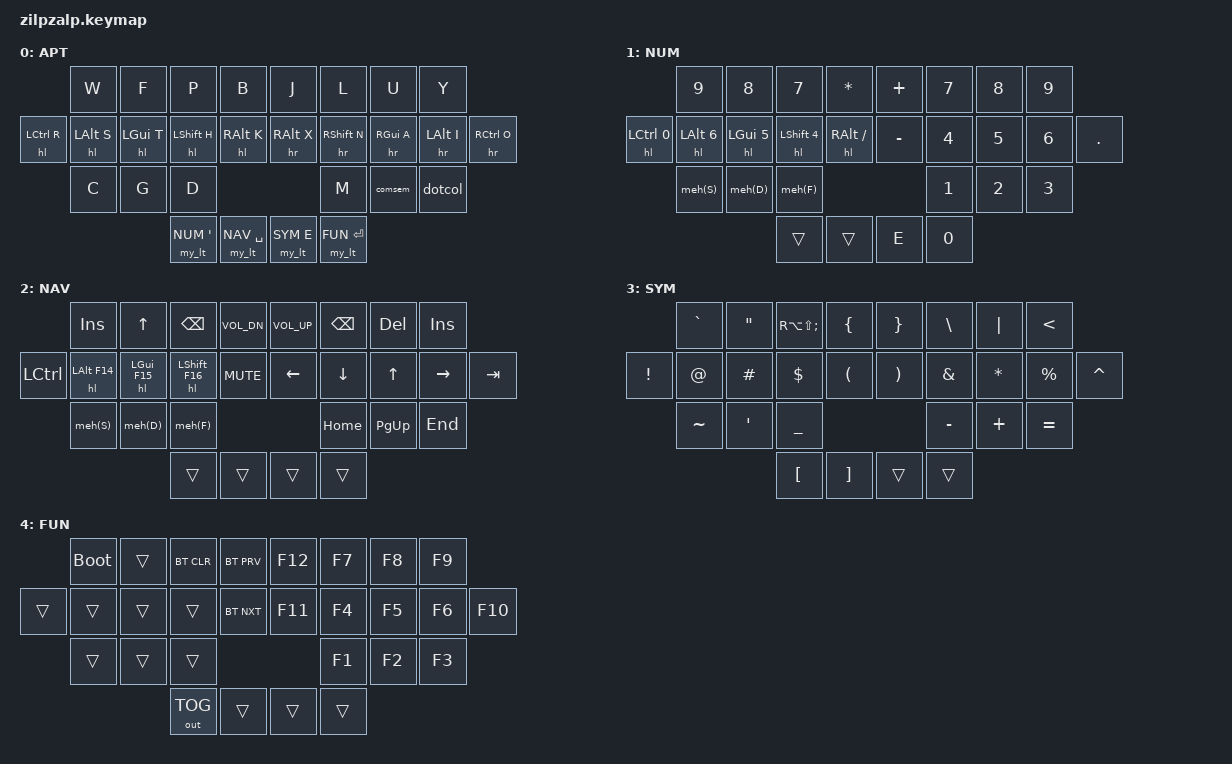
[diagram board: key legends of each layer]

#include "base_zilpzalp.h"


// zilpzalp key numbers
//     __________________________  __________________________
//    /     0  |  1  |  2  |  3  \/   4 |   5 |   6 |   7    \
// |  8  |  9  | 10  | 11  | 12  /\  13 |  14 |  15 |  16 | 17  |
//    \    18  | 19  | 20    /        \    21 |  22 |  23   /
//          \    24  | 25  /            \  26 |  27    /
//           --------------              --------------


/ {

    keymap {
        compatible = "zmk,keymap";

        aptmak {
            label = "APT";

            bindings = <
                               &kp W          &kp F          &kp P          &kp B                   &kp J          &kp L          &kp U          &kp Y
                &hl LCTRL R    &hl LALT S     &hl LGUI T     &hl LSHFT H    &hl RALT K              &hr RALT X     &hr RSHFT N    &hr RGUI A     &hr LALT I     &hr RCTRL O
                               &kp C          &kp G          &kp D                                                 &kp M          &comsem        &dotcol
                                                             &my_lt NUM SQT &my_lt NAV SPACE        &my_lt SYM E &my_lt FUN ENTER
            >;
        };
        numbers {
            label = "NUM";

            bindings = <
                               &kp N9         &kp N8         &kp N7         &kp ASTERISK   &kp PLUS       &kp N7         &kp N8         &kp N9
                &hl LCTRL N0   &hl LALT N6    &hl LGUI N5    &hl LSHFT N4   &hl RALT SLASH &kp MINUS      &kp N4         &kp N5         &kp N6         &kp DOT
                               &kp meh(S)         &kp meh(D)         &kp meh(F)                                       &kp N1         &kp N2         &kp N3
                                                             &trans         &trans         &kp E          &kp N0
            >;
        };
        navigation {
            label = "NAV";

            bindings = <
                               &kp INSERT     &kp UP        &kp BSPC        &kp C_VOL_DN       &kp C_VOL_UP   &kp BSPC       &kp DEL        &kp INSERT
                &kp LCTRL      &hl LALT F14   &hl LGUI F15  &hl LSHFT F16   &kp C_MUTE         &kp LEFT       &kp DOWN       &kp UP         &kp RIGHT      &kp TAB
                               &kp meh(S)     &kp meh(D)    &kp meh(F)                                        &kp HOME       &kp PG_UP      &kp END
                                                            &trans          &trans             &trans         &trans
            >;
        };
        symbols {
            label = "SYM";

            bindings = <
                               &kp GRAVE      &kp DQT        &kp RA(LS(SEMI)) &kp LBRC       &kp RBRC       &kp BACKSLASH  &kp PIPE       &kp LT
                &kp EXCL       &kp AT         &kp HASH       &kp DOLLAR       &kp LPAR       &kp RPAR       &kp AMPERSAND  &kp ASTERISK   &kp PERCENT    &kp CARET
                               &kp TILDE      &kp SQT        &kp UNDERSCORE                                 &kp MINUS      &kp PLUS       &kp EQUAL
                                                             &kp LBKT         &kp RBKT       &trans         &trans
            >;
        };
        function {
            label = "FUN";

            bindings = <
                               &bootloader    &trans         &bt BT_CLR     &bt BT_PRV     &kp F12        &kp F7         &kp F8         &kp F9
                &trans         &trans         &trans         &trans         &bt BT_NXT     &kp F11        &kp F4         &kp F5         &kp F6         &kp F10
                               &trans         &trans         &trans                                       &kp F1         &kp F2         &kp F3
                                                             &out OUT_TOG   &trans         &trans         &trans
            >;
        };

    };
};

//     __________________________  __________________________
//    /     1  |  2  |  3  |  4  \/   5 |   6 |   7 |   8    \
// | 10  | 11  | 12  | 13  | 14  ||  15 |  16 |  17 |  18 | 19  |
//    \    20  | 21  | 22  |     ||     |  23 |  24 |  25   /
//                \    26  | 27  /\  28 |  29    /
//                 --------------  --------------

